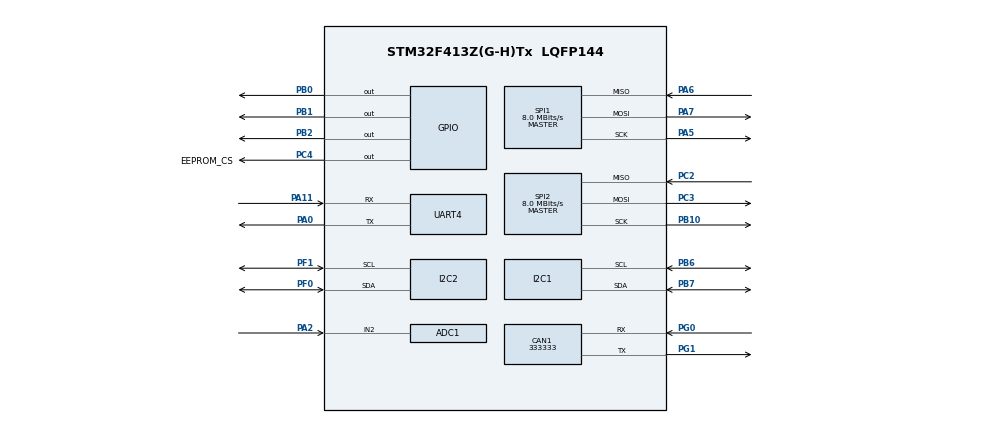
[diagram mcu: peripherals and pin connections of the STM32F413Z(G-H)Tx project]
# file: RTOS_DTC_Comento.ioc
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ADC1.Channel-2\#ChannelRegularConversion=ADC_CHANNEL_2
ADC1.NbrOfConversionFlag=1
ADC1.Rank-2\#ChannelRegularConversion=1
ADC1.SamplingTime-2\#ChannelRegularConversion=ADC_SAMPLETIME_3CYCLES
ADC1.master=1
CAN1.CalculateBaudRate=333333
CAN1.CalculateTimeBit=3000
CAN1.CalculateTimeQuantum=1000.0
Dma.I2C1_RX.0.Direction=DMA_PERIPH_TO_MEMORY
Dma.I2C1_RX.0.FIFOMode=DMA_FIFOMODE_DISABLE
Dma.I2C1_RX.0.Instance=DMA1_Stream0
Dma.I2C1_RX.0.MemDataAlignment=DMA_MDATAALIGN_BYTE
Dma.I2C1_RX.0.MemInc=DMA_MINC_ENABLE
Dma.I2C1_RX.0.Mode=DMA_NORMAL
Dma.I2C1_RX.0.PeriphDataAlignment=DMA_PDATAALIGN_BYTE
Dma.I2C1_RX.0.PeriphInc=DMA_PINC_DISABLE
Dma.I2C1_RX.0.Priority=DMA_PRIORITY_MEDIUM
Dma.I2C1_TX.1.Direction=DMA_MEMORY_TO_PERIPH
Dma.I2C1_TX.1.FIFOMode=DMA_FIFOMODE_DISABLE
Dma.I2C1_TX.1.Instance=DMA1_Stream6
Dma.I2C1_TX.1.MemDataAlignment=DMA_MDATAALIGN_BYTE
Dma.I2C1_TX.1.MemInc=DMA_MINC_ENABLE
Dma.I2C1_TX.1.Mode=DMA_NORMAL
Dma.I2C1_TX.1.PeriphDataAlignment=DMA_PDATAALIGN_BYTE
Dma.I2C1_TX.1.PeriphInc=DMA_PINC_DISABLE
Dma.I2C1_TX.1.Priority=DMA_PRIORITY_MEDIUM
Dma.I2C2_RX.2.Direction=DMA_PERIPH_TO_MEMORY
Dma.I2C2_RX.2.FIFOMode=DMA_FIFOMODE_DISABLE
Dma.I2C2_RX.2.Instance=DMA1_Stream2
Dma.I2C2_RX.2.MemDataAlignment=DMA_MDATAALIGN_BYTE
Dma.I2C2_RX.2.MemInc=DMA_MINC_ENABLE
Dma.I2C2_RX.2.Mode=DMA_NORMAL
Dma.I2C2_RX.2.PeriphDataAlignment=DMA_PDATAALIGN_BYTE
Dma.I2C2_RX.2.PeriphInc=DMA_PINC_DISABLE
Dma.I2C2_RX.2.Priority=DMA_PRIORITY_LOW
Dma.I2C2_TX.3.Direction=DMA_MEMORY_TO_PERIPH
Dma.I2C2_TX.3.FIFOMode=DMA_FIFOMODE_DISABLE
Dma.I2C2_TX.3.Instance=DMA1_Stream7
Dma.I2C2_TX.3.MemDataAlignment=DMA_MDATAALIGN_BYTE
Dma.I2C2_TX.3.MemInc=DMA_MINC_ENABLE
Dma.I2C2_TX.3.Mode=DMA_NORMAL
Dma.I2C2_TX.3.PeriphDataAlignment=DMA_PDATAALIGN_BYTE
Dma.I2C2_TX.3.PeriphInc=DMA_PINC_DISABLE
Dma.I2C2_TX.3.Priority=DMA_PRIORITY_LOW
Dma.Request0=I2C1_RX
Dma.Request1=I2C1_TX
Dma.Request2=I2C2_RX
Dma.Request3=I2C2_TX
Dma.Request4=SPI1_RX
Dma.Request5=SPI1_TX
Dma.Request6=SPI2_RX
Dma.Request7=SPI2_TX
Dma.SPI1_RX.4.Direction=DMA_PERIPH_TO_MEMORY
Dma.SPI1_RX.4.FIFOMode=DMA_FIFOMODE_DISABLE
Dma.SPI1_RX.4.Instance=DMA2_Stream0
Dma.SPI1_RX.4.MemDataAlignment=DMA_MDATAALIGN_BYTE
Dma.SPI1_RX.4.MemInc=DMA_MINC_ENABLE
Dma.SPI1_RX.4.Mode=DMA_NORMAL
Dma.SPI1_RX.4.PeriphDataAlignment=DMA_PDATAALIGN_BYTE
Dma.SPI1_RX.4.PeriphInc=DMA_PINC_DISABLE
Dma.SPI1_RX.4.Priority=DMA_PRIORITY_LOW
Dma.SPI1_TX.5.Direction=DMA_MEMORY_TO_PERIPH
Dma.SPI1_TX.5.FIFOMode=DMA_FIFOMODE_DISABLE
Dma.SPI1_TX.5.Instance=DMA2_Stream3
Dma.SPI1_TX.5.MemDataAlignment=DMA_MDATAALIGN_BYTE
Dma.SPI1_TX.5.MemInc=DMA_MINC_ENABLE
Dma.SPI1_TX.5.Mode=DMA_NORMAL
Dma.SPI1_TX.5.PeriphDataAlignment=DMA_PDATAALIGN_BYTE
Dma.SPI1_TX.5.PeriphInc=DMA_PINC_DISABLE
Dma.SPI1_TX.5.Priority=DMA_PRIORITY_LOW
Dma.SPI2_RX.6.Direction=DMA_PERIPH_TO_MEMORY
Dma.SPI2_RX.6.FIFOMode=DMA_FIFOMODE_DISABLE
Dma.SPI2_RX.6.Instance=DMA1_Stream3
Dma.SPI2_RX.6.MemDataAlignment=DMA_MDATAALIGN_BYTE
Dma.SPI2_RX.6.MemInc=DMA_MINC_ENABLE
Dma.SPI2_RX.6.Mode=DMA_NORMAL
Dma.SPI2_RX.6.PeriphDataAlignment=DMA_PDATAALIGN_BYTE
Dma.SPI2_RX.6.PeriphInc=DMA_PINC_DISABLE
Dma.SPI2_RX.6.Priority=DMA_PRIORITY_LOW
Dma.SPI2_TX.7.Direction=DMA_MEMORY_TO_PERIPH
Dma.SPI2_TX.7.FIFOMode=DMA_FIFOMODE_DISABLE
Dma.SPI2_TX.7.Instance=DMA1_Stream4
Dma.SPI2_TX.7.MemDataAlignment=DMA_MDATAALIGN_BYTE
Dma.SPI2_TX.7.MemInc=DMA_MINC_ENABLE
Dma.SPI2_TX.7.Mode=DMA_NORMAL
Dma.SPI2_TX.7.PeriphDataAlignment=DMA_PDATAALIGN_BYTE
Dma.SPI2_TX.7.PeriphInc=DMA_PINC_DISABLE
Dma.SPI2_TX.7.Priority=DMA_PRIORITY_LOW
FREERTOS.Mutexes01=CommMutexHandle,Dynamic,NULL,Available
FREERTOS.Queues01=CanQueue,8,8,1,Dynamic,NULL,NULL
FREERTOS.Tasks01=defaultTask,24,128,StartDefaultTask,Default,NULL,Dynamic,NULL,NULL;I2CTask,24,128,StartI2CTask,Default,NULL,Dynamic,NULL,NULL;SPITask,24,128,StartSPITask,Default,NULL,Dynamic,NULL,NULL;CANTask,24,128,StartCANTask,Default,NULL,Dynamic,NULL,NULL;UARTTask,24,128,StartUARTTask,Default,NULL,Dynamic,NULL,NULL
Mcu.Family=STM32F4
Mcu.Name=STM32F413Z(G-H)Tx
Mcu.Package=LQFP144
NVIC.CAN1_RX0_IRQn=true\:5\:0\:false\:false\:true\:true\:true\:true\:true
NVIC.CAN1_TX_IRQn=true\:5\:0\:false\:false\:true\:true\:true\:true\:true
NVIC.DMA1_Stream0_IRQn=true\:5\:0\:false\:false\:true\:true\:false\:true\:true
NVIC.DMA1_Stream2_IRQn=true\:5\:0\:false\:false\:true\:true\:false\:true\:true
NVIC.DMA1_Stream3_IRQn=true\:5\:0\:false\:false\:true\:true\:false\:true\:true
NVIC.DMA1_Stream4_IRQn=true\:5\:0\:false\:false\:true\:true\:false\:true\:true
NVIC.DMA1_Stream6_IRQn=true\:5\:0\:false\:false\:true\:false\:false\:true\:true
NVIC.DMA1_Stream7_IRQn=true\:5\:0\:false\:false\:true\:true\:false\:true\:true
NVIC.DMA2_Stream0_IRQn=true\:5\:0\:false\:false\:true\:true\:false\:true\:true
NVIC.DMA2_Stream3_IRQn=true\:5\:0\:false\:false\:true\:false\:false\:true\:true
NVIC.I2C1_ER_IRQn=true\:5\:0\:false\:false\:true\:true\:true\:true\:true
NVIC.I2C1_EV_IRQn=true\:5\:0\:false\:false\:true\:true\:true\:true\:true
NVIC.I2C2_EV_IRQn=true\:5\:0\:false\:false\:true\:true\:true\:true\:true
NVIC.PriorityGroup=NVIC_PRIORITYGROUP_4
NVIC.SPI1_IRQn=true\:5\:0\:false\:false\:true\:true\:true\:true\:true
NVIC.SPI2_IRQn=true\:5\:0\:false\:false\:true\:true\:true\:true\:true
NVIC.UART4_IRQn=true\:5\:0\:false\:false\:true\:true\:true\:true\:true
PA0.Mode=Asynchronous
PA0.Signal=UART4_TX
PA11.Mode=Asynchronous
PA11.Signal=UART4_RX
PA2.Signal=ADCx_IN2
PA5.Mode=Full_Duplex_Master
PA5.Signal=SPI1_SCK
PA6.Mode=Full_Duplex_Master
PA6.Signal=SPI1_MISO
PA7.Mode=Full_Duplex_Master
PA7.Signal=SPI1_MOSI
PB0.GPIO_Speed=GPIO_SPEED_FREQ_MEDIUM
PB0.PinState=GPIO_PIN_SET
PB0.Signal=GPIO_Output
PB1.GPIO_Speed=GPIO_SPEED_FREQ_MEDIUM
PB1.PinState=GPIO_PIN_SET
PB1.Signal=GPIO_Output
PB10.Mode=Full_Duplex_Master
PB10.Signal=SPI2_SCK
PB2.GPIO_ModeDefaultOutputPP=GPIO_MODE_OUTPUT_OD
PB2.GPIO_PuPd=GPIO_NOPULL
PB2.GPIO_Speed=GPIO_SPEED_FREQ_MEDIUM
PB2.PinState=GPIO_PIN_SET
PB2.Signal=GPIO_Output
PB6.Mode=I2C
PB6.Signal=I2C1_SCL
PB7.Mode=I2C
PB7.Signal=I2C1_SDA
PC2.Mode=Full_Duplex_Master
PC2.Signal=SPI2_MISO
PC3.Mode=Full_Duplex_Master
PC3.Signal=SPI2_MOSI
PC4.GPIO_Label=EEPROM_CS
PC4.PinState=GPIO_PIN_SET
PC4.Signal=GPIO_Output
PF0.Mode=I2C
PF0.Signal=I2C2_SDA
PF1.Mode=I2C
PF1.Signal=I2C2_SCL
PG0.Mode=CAN_Activate
PG0.Signal=CAN1_RX
PG1.Mode=CAN_Activate
PG1.Signal=CAN1_TX
ProjectManager.HeapSize=0x200
ProjectManager.StackSize=0x400
ProjectManager.TargetToolchain=STM32CubeIDE
RCC.CortexFreq_Value=16000000
RCC.USBFreq_Value=96000000
RCC.VCOOutputFreq_Value=192000000
SH.ADCx_IN2.0=ADC1_IN2,IN2
SPI1.CalculateBaudRate=8.0 MBits/s
SPI1.Direction=SPI_DIRECTION_2LINES
SPI1.Mode=SPI_MODE_MASTER
SPI1.VirtualType=VM_MASTER
SPI2.CalculateBaudRate=8.0 MBits/s
SPI2.Direction=SPI_DIRECTION_2LINES
SPI2.Mode=SPI_MODE_MASTER
SPI2.VirtualType=VM_MASTER
UART4.VirtualMode=Asynchronous
VP_FREERTOS_VS_CMSIS_V2.Mode=CMSIS_V2
board=custom

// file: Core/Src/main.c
/* USER CODE BEGIN Header */
/**
  ******************************************************************************
  * @file           : main.c
  * @brief          : Main program body
  ******************************************************************************
  * @attention
  *
  * <h2><center>&copy; Copyright (c) 2025 STMicroelectronics.
  * All rights reserved.</center></h2>
  *
  * This software component is licensed by ST under BSD 3-Clause license,
  * the "License"; You may not use this file except in compliance with the
  * License. You may obtain a copy of the License at:
  *                        opensource.org/licenses/BSD-3-Clause
  *
  ******************************************************************************
  */
/* USER CODE END Header */
#include "main.h"
#include "cmsis_os.h"
#include "mp5475gu_driver.h"
#include "dtc_manager.h"
#include "eeprom_25lc256.h"

/* USER CODE BEGIN Includes */
#include "can_manager.h"
#include <string.h>
#include <stdio.h>
/* USER CODE END Includes */

ADC_HandleTypeDef hadc1;

CAN_HandleTypeDef hcan1;

I2C_HandleTypeDef hi2c1;
I2C_HandleTypeDef hi2c2;
DMA_HandleTypeDef hdma_i2c1_rx;
DMA_HandleTypeDef hdma_i2c1_tx;
DMA_HandleTypeDef hdma_i2c2_rx;
DMA_HandleTypeDef hdma_i2c2_tx;

SPI_HandleTypeDef hspi1;
SPI_HandleTypeDef hspi2;
DMA_HandleTypeDef hdma_spi1_rx;
DMA_HandleTypeDef hdma_spi1_tx;
DMA_HandleTypeDef hdma_spi2_rx;
DMA_HandleTypeDef hdma_spi2_tx;

UART_HandleTypeDef huart4;

/* Definitions for defaultTask */
osThreadId_t defaultTaskHandle;
const osThreadAttr_t defaultTask_attributes = {
  .name = "defaultTask",
  .stack_size = 128 * 4,
  .priority = (osPriority_t) osPriorityNormal,
};
/* Definitions for I2CTask */
osThreadId_t I2CTaskHandle;
const osThreadAttr_t I2CTask_attributes = {
  .name = "I2CTask",
  .stack_size = 128 * 4,
  .priority = (osPriority_t) osPriorityNormal,
};
/* Definitions for SPITask */
osThreadId_t SPITaskHandle;
const osThreadAttr_t SPITask_attributes = {
  .name = "SPITask",
  .stack_size = 128 * 4,
  .priority = (osPriority_t) osPriorityNormal,
};
/* Definitions for CANTask */
osThreadId_t CANTaskHandle;
const osThreadAttr_t CANTask_attributes = {
  .name = "CANTask",
  .stack_size = 128 * 4,
  .priority = (osPriority_t) osPriorityNormal,
};
/* Definitions for UARTTask */
osThreadId_t UARTTaskHandle;
const osThreadAttr_t UARTTask_attributes = {
  .name = "UARTTask",
  .stack_size = 128 * 4,
  .priority = (osPriority_t) osPriorityNormal,
};
/* Definitions for CanQueue */
osMessageQueueId_t CanQueueHandle;
const osMessageQueueAttr_t CanQueue_attributes = {
  .name = "CanQueue"
};
/* Definitions for CommMutexHandle */
osMutexId_t CommMutexHandleHandle;
const osMutexAttr_t CommMutexHandle_attributes = {
  .name = "CommMutexHandle"
};

void SystemClock_Config(void);
static void MX_GPIO_Init(void);
static void MX_DMA_Init(void);
static void MX_ADC1_Init(void);
static void MX_CAN1_Init(void);
static void MX_I2C1_Init(void);
static void MX_I2C2_Init(void);
static void MX_SPI1_Init(void);
static void MX_SPI2_Init(void);
static void MX_UART4_Init(void);
void StartDefaultTask(void *argument);
void StartI2CTask(void *argument);
void StartSPITask(void *argument);
void StartCANTask(void *argument);
void StartUARTTask(void *argument);

int main(void)
{

  /* MCU Configuration--------------------------------------------------------*/

  /* Reset of all peripherals, Initializes the Flash interface and the Systick. */
  HAL_Init();

  /* Configure the system clock */
  SystemClock_Config();

  /* Initialize all configured peripherals */
  MX_GPIO_Init();
  MX_DMA_Init();
  MX_ADC1_Init();
  MX_CAN1_Init();
  MX_I2C1_Init();
  MX_I2C2_Init();
  MX_SPI1_Init();
  MX_SPI2_Init();
  MX_UART4_Init();
  /* USER CODE BEGIN 2 */
  mp5475gu_init();
  EEPROM_Init(&hspi1, GPIOC, GPIO_PIN_4);
  CAN_Manager_Init(&hcan1);
  /* USER CODE END 2 */

  /* Init scheduler */
  osKernelInitialize();
  /* Create the mutex(es) */
  /* creation of CommMutexHandle */
  CommMutexHandleHandle = osMutexNew(&CommMutexHandle_attributes);

  /* Create the queue(s) */
  /* creation of CanQueue */
  CanQueueHandle = osMessageQueueNew (8, 8, &CanQueue_attributes);

  /* Create the thread(s) */
  /* creation of defaultTask */
  defaultTaskHandle = osThreadNew(StartDefaultTask, NULL, &defaultTask_attributes);

  /* creation of I2CTask */
  I2CTaskHandle = osThreadNew(StartI2CTask, NULL, &I2CTask_attributes);

  /* creation of SPITask */
  SPITaskHandle = osThreadNew(StartSPITask, NULL, &SPITask_attributes);

  /* creation of CANTask */
  CANTaskHandle = osThreadNew(StartCANTask, NULL, &CANTask_attributes);

  /* creation of UARTTask */
  UARTTaskHandle = osThreadNew(StartUARTTask, NULL, &UARTTask_attributes);

  /* Start scheduler */
  osKernelStart();

  /* We should never get here as control is now taken by the scheduler */
  /* Infinite loop */
  while (1)
  {

  }
}

void SystemClock_Config(void)
{
  RCC_OscInitTypeDef RCC_OscInitStruct = {0};
  RCC_ClkInitTypeDef RCC_ClkInitStruct = {0};

  /** Configure the main internal regulator output voltage
  */
  __HAL_RCC_PWR_CLK_ENABLE();
  __HAL_PWR_VOLTAGESCALING_CONFIG(PWR_REGULATOR_VOLTAGE_SCALE1);
  /** Initializes the RCC Oscillators according to the specified parameters
  * in the RCC_OscInitTypeDef structure.
  */
  RCC_OscInitStruct.OscillatorType = RCC_OSCILLATORTYPE_HSI;
  RCC_OscInitStruct.HSIState = RCC_HSI_ON;
  RCC_OscInitStruct.HSICalibrationValue = RCC_HSICALIBRATION_DEFAULT;
  RCC_OscInitStruct.PLL.PLLState = RCC_PLL_NONE;
  if (HAL_RCC_OscConfig(&RCC_OscInitStruct) != HAL_OK)
  {
    Error_Handler();
  }
  /** Initializes the CPU, AHB and APB buses clocks
  */
  RCC_ClkInitStruct.ClockType = RCC_CLOCKTYPE_HCLK|RCC_CLOCKTYPE_SYSCLK
                              |RCC_CLOCKTYPE_PCLK1|RCC_CLOCKTYPE_PCLK2;
  RCC_ClkInitStruct.SYSCLKSource = RCC_SYSCLKSOURCE_HSI;
  RCC_ClkInitStruct.AHBCLKDivider = RCC_SYSCLK_DIV1;
  RCC_ClkInitStruct.APB1CLKDivider = RCC_HCLK_DIV1;
  RCC_ClkInitStruct.APB2CLKDivider = RCC_HCLK_DIV1;

  if (HAL_RCC_ClockConfig(&RCC_ClkInitStruct, FLASH_LATENCY_0) != HAL_OK)
  {
    Error_Handler();
  }
}

static void MX_ADC1_Init(void)
{

  ADC_ChannelConfTypeDef sConfig = {0};

  /** Configure the global features of the ADC (Clock, Resolution, Data Alignment and number of conversion)
  */
  hadc1.Instance = ADC1;
  hadc1.Init.ClockPrescaler = ADC_CLOCK_SYNC_PCLK_DIV2;
  hadc1.Init.Resolution = ADC_RESOLUTION_12B;
  hadc1.Init.ScanConvMode = DISABLE;
  hadc1.Init.ContinuousConvMode = DISABLE;
  hadc1.Init.DiscontinuousConvMode = DISABLE;
  hadc1.Init.ExternalTrigConvEdge = ADC_EXTERNALTRIGCONVEDGE_NONE;
  hadc1.Init.ExternalTrigConv = ADC_SOFTWARE_START;
  hadc1.Init.DataAlign = ADC_DATAALIGN_RIGHT;
  hadc1.Init.NbrOfConversion = 1;
  hadc1.Init.DMAContinuousRequests = DISABLE;
  hadc1.Init.EOCSelection = ADC_EOC_SINGLE_CONV;
  if (HAL_ADC_Init(&hadc1) != HAL_OK)
  {
    Error_Handler();
  }
  /** Configure for the selected ADC regular channel its corresponding rank in the sequencer and its sample time.
  */
  sConfig.Channel = ADC_CHANNEL_2;
  sConfig.Rank = 1;
  sConfig.SamplingTime = ADC_SAMPLETIME_3CYCLES;
  if (HAL_ADC_ConfigChannel(&hadc1, &sConfig) != HAL_OK)
  {
    Error_Handler();
  }

}

static void MX_CAN1_Init(void)
{

  hcan1.Instance = CAN1;
  hcan1.Init.Prescaler = 16;
  hcan1.Init.Mode = CAN_MODE_NORMAL;
  hcan1.Init.SyncJumpWidth = CAN_SJW_1TQ;
  hcan1.Init.TimeSeg1 = CAN_BS1_1TQ;
  hcan1.Init.TimeSeg2 = CAN_BS2_1TQ;
  hcan1.Init.TimeTriggeredMode = DISABLE;
  hcan1.Init.AutoBusOff = DISABLE;
  hcan1.Init.AutoWakeUp = DISABLE;
  hcan1.Init.AutoRetransmission = DISABLE;
  hcan1.Init.ReceiveFifoLocked = DISABLE;
  hcan1.Init.TransmitFifoPriority = DISABLE;
  if (HAL_CAN_Init(&hcan1) != HAL_OK)
  {
    Error_Handler();
  }

}

static void MX_I2C1_Init(void)
{

  hi2c1.Instance = I2C1;
  hi2c1.Init.ClockSpeed = 100000;
  hi2c1.Init.DutyCycle = I2C_DUTYCYCLE_2;
  hi2c1.Init.OwnAddress1 = 0;
  hi2c1.Init.AddressingMode = I2C_ADDRESSINGMODE_7BIT;
  hi2c1.Init.DualAddressMode = I2C_DUALADDRESS_DISABLE;
  hi2c1.Init.OwnAddress2 = 0;
  hi2c1.Init.GeneralCallMode = I2C_GENERALCALL_DISABLE;
  hi2c1.Init.NoStretchMode = I2C_NOSTRETCH_DISABLE;
  if (HAL_I2C_Init(&hi2c1) != HAL_OK)
  {
    Error_Handler();
  }

}

static void MX_I2C2_Init(void)
{

  hi2c2.Instance = I2C2;
  hi2c2.Init.ClockSpeed = 100000;
  hi2c2.Init.DutyCycle = I2C_DUTYCYCLE_2;
  hi2c2.Init.OwnAddress1 = 0;
  hi2c2.Init.AddressingMode = I2C_ADDRESSINGMODE_7BIT;
  hi2c2.Init.DualAddressMode = I2C_DUALADDRESS_DISABLE;
  hi2c2.Init.OwnAddress2 = 0;
  hi2c2.Init.GeneralCallMode = I2C_GENERALCALL_DISABLE;
  hi2c2.Init.NoStretchMode = I2C_NOSTRETCH_DISABLE;
  if (HAL_I2C_Init(&hi2c2) != HAL_OK)
  {
    Error_Handler();
  }

}

static void MX_SPI1_Init(void)
{

  /* SPI1 parameter configuration*/
  hspi1.Instance = SPI1;
  hspi1.Init.Mode = SPI_MODE_MASTER;
  hspi1.Init.Direction = SPI_DIRECTION_2LINES;
  hspi1.Init.DataSize = SPI_DATASIZE_8BIT;
  hspi1.Init.CLKPolarity = SPI_POLARITY_LOW;
  hspi1.Init.CLKPhase = SPI_PHASE_1EDGE;
  hspi1.Init.NSS = SPI_NSS_SOFT;
  hspi1.Init.BaudRatePrescaler = SPI_BAUDRATEPRESCALER_2;
  hspi1.Init.FirstBit = SPI_FIRSTBIT_MSB;
  hspi1.Init.TIMode = SPI_TIMODE_DISABLE;
  hspi1.Init.CRCCalculation = SPI_CRCCALCULATION_DISABLE;
  hspi1.Init.CRCPolynomial = 10;
  if (HAL_SPI_Init(&hspi1) != HAL_OK)
  {
    Error_Handler();
  }

}

static void MX_SPI2_Init(void)
{

  /* SPI2 parameter configuration*/
  hspi2.Instance = SPI2;
  hspi2.Init.Mode = SPI_MODE_MASTER;
  hspi2.Init.Direction = SPI_DIRECTION_2LINES;
  hspi2.Init.DataSize = SPI_DATASIZE_8BIT;
  hspi2.Init.CLKPolarity = SPI_POLARITY_LOW;
  hspi2.Init.CLKPhase = SPI_PHASE_1EDGE;
  hspi2.Init.NSS = SPI_NSS_SOFT;
  hspi2.Init.BaudRatePrescaler = SPI_BAUDRATEPRESCALER_2;
  hspi2.Init.FirstBit = SPI_FIRSTBIT_MSB;
  hspi2.Init.TIMode = SPI_TIMODE_DISABLE;
  hspi2.Init.CRCCalculation = SPI_CRCCALCULATION_DISABLE;
  hspi2.Init.CRCPolynomial = 10;
  if (HAL_SPI_Init(&hspi2) != HAL_OK)
  {
    Error_Handler();
  }

}

static void MX_UART4_Init(void)
{

  huart4.Instance = UART4;
  huart4.Init.BaudRate = 115200;
  huart4.Init.WordLength = UART_WORDLENGTH_8B;
  huart4.Init.StopBits = UART_STOPBITS_1;
  huart4.Init.Parity = UART_PARITY_NONE;
  huart4.Init.Mode = UART_MODE_TX_RX;
  huart4.Init.HwFlowCtl = UART_HWCONTROL_NONE;
  huart4.Init.OverSampling = UART_OVERSAMPLING_16;
  if (HAL_UART_Init(&huart4) != HAL_OK)
  {
    Error_Handler();
  }

}

static void MX_DMA_Init(void)
{

  /* DMA controller clock enable */
  __HAL_RCC_DMA1_CLK_ENABLE();
  __HAL_RCC_DMA2_CLK_ENABLE();

  /* DMA interrupt init */
  /* DMA1_Stream0_IRQn interrupt configuration */
  HAL_NVIC_SetPriority(DMA1_Stream0_IRQn, 5, 0);
  HAL_NVIC_EnableIRQ(DMA1_Stream0_IRQn);
  /* DMA1_Stream2_IRQn interrupt configuration */
  HAL_NVIC_SetPriority(DMA1_Stream2_IRQn, 5, 0);
  HAL_NVIC_EnableIRQ(DMA1_Stream2_IRQn);
  /* DMA1_Stream3_IRQn interrupt configuration */
  HAL_NVIC_SetPriority(DMA1_Stream3_IRQn, 5, 0);
  HAL_NVIC_EnableIRQ(DMA1_Stream3_IRQn);
  /* DMA1_Stream4_IRQn interrupt configuration */
  HAL_NVIC_SetPriority(DMA1_Stream4_IRQn, 5, 0);
  HAL_NVIC_EnableIRQ(DMA1_Stream4_IRQn);
  /* DMA1_Stream6_IRQn interrupt configuration */
  HAL_NVIC_SetPriority(DMA1_Stream6_IRQn, 0, 0);
  HAL_NVIC_EnableIRQ(DMA1_Stream6_IRQn);
  /* DMA1_Stream7_IRQn interrupt configuration */
  HAL_NVIC_SetPriority(DMA1_Stream7_IRQn, 5, 0);
  HAL_NVIC_EnableIRQ(DMA1_Stream7_IRQn);
  /* DMA2_Stream0_IRQn interrupt configuration */
  HAL_NVIC_SetPriority(DMA2_Stream0_IRQn, 5, 0);
  HAL_NVIC_EnableIRQ(DMA2_Stream0_IRQn);
  /* DMA2_Stream3_IRQn interrupt configuration */
  HAL_NVIC_SetPriority(DMA2_Stream3_IRQn, 0, 0);
  HAL_NVIC_EnableIRQ(DMA2_Stream3_IRQn);

}

static void MX_GPIO_Init(void)
{
  GPIO_InitTypeDef GPIO_InitStruct = {0};

  /* GPIO Ports Clock Enable */
  __HAL_RCC_GPIOF_CLK_ENABLE();
  __HAL_RCC_GPIOC_CLK_ENABLE();
  __HAL_RCC_GPIOA_CLK_ENABLE();
  __HAL_RCC_GPIOB_CLK_ENABLE();
  __HAL_RCC_GPIOG_CLK_ENABLE();

  /*Configure GPIO pin Output Level */
  HAL_GPIO_WritePin(GPIOB, GPIO_PIN_0|GPIO_PIN_1|GPIO_PIN_2, GPIO_PIN_SET);

  /*Configure GPIO pins : PB0 PB1 */
  GPIO_InitStruct.Pin = GPIO_PIN_0|GPIO_PIN_1;
  GPIO_InitStruct.Mode = GPIO_MODE_OUTPUT_PP;
  GPIO_InitStruct.Pull = GPIO_NOPULL;
  GPIO_InitStruct.Speed = GPIO_SPEED_FREQ_MEDIUM;
  HAL_GPIO_Init(GPIOB, &GPIO_InitStruct);

  /*Configure GPIO pin : PB2 */
  GPIO_InitStruct.Pin = GPIO_PIN_2;
  GPIO_InitStruct.Mode = GPIO_MODE_OUTPUT_OD;
  GPIO_InitStruct.Pull = GPIO_NOPULL;
  GPIO_InitStruct.Speed = GPIO_SPEED_FREQ_MEDIUM;
  HAL_GPIO_Init(GPIOB, &GPIO_InitStruct);

}

void StartDefaultTask(void *argument)
{
  for(;;)
  {
    osDelay(1);
  }
}

void StartI2CTask(void *argument)
{
  /* USER CODE BEGIN StartI2CTask */
  MP5475GU_StatusUV_t uv_status;
  HAL_StatusTypeDef ret;
  /* Infinite loop */
  for(;;)
  {
    if (osMutexAcquire(CommMutexHandleHandle, osWaitForever) == osOK){

      // TODO: Add I2C communication code here.
      mp5475gu_set_vout(&hi2c1, BUCK_A, 1.2f);
      osDelay(100);

      // 1. Read the UV status from the PMIC
      ret = mp5475gu_read_uv_status(&hi2c1, &uv_status);
      if (ret == HAL_OK) {
        // 2. Update DTCs based on the read status

        // Check Buck A
        if (uv_status.bits.BUCKA_UV) {
          DTC_Set(DTC_PMIC_BUCK_A_UNDERVOLTAGE);
        } else {
          DTC_Clear(DTC_PMIC_BUCK_A_UNDERVOLTAGE);
        }

        // Check Buck B
        if (uv_status.bits.BUCKB_UV) {
          DTC_Set(DTC_PMIC_BUCK_B_UNDERVOLTAGE);
        } else {
          DTC_Clear(DTC_PMIC_BUCK_B_UNDERVOLTAGE);
        }

        // Check Buck C
        if (uv_status.bits.BUCKC_UV) {
          DTC_Set(DTC_PMIC_BUCK_C_UNDERVOLTAGE);
        } else {
          DTC_Clear(DTC_PMIC_BUCK_C_UNDERVOLTAGE);
        }

        // Check Buck D
        if (uv_status.bits.BUCKD_UV) {
          DTC_Set(DTC_PMIC_BUCK_D_UNDERVOLTAGE);
        } else {
          DTC_Clear(DTC_PMIC_BUCK_D_UNDERVOLTAGE);
        }
      }

      osMutexRelease(CommMutexHandleHandle);

      // Wait for the next monitoring cycle
      osDelay(100); // Check every 100ms
    }
  }
  /* USER CODE END StartI2CTask */
}

void StartSPITask(void *argument)
{
  /* USER CODE BEGIN StartSPITask */
  uint8_t dtc_data;
  uint16_t dtc_address;
  /* Infinite loop */
  for(;;)
  {
    if (osMutexAcquire(CommMutexHandleHandle, osWaitForever) == osOK){

      // TODO: Add SPI communication code here.
      dtc_data = DTC_GetStatusBitmask();
      dtc_address = 0x0000;
      if (EEPROM_Write_DMA(dtc_address, &dtc_data, 1) == HAL_OK) {
        // 쓰기 성공
      } else {
        // 쓰기 실패
      }

      osMutexRelease(CommMutexHandleHandle);
    }
    osDelay(100);
  }
  /* USER CODE END StartSPITask */
}

void StartCANTask(void *argument)
{
  /* USER CODE BEGIN StartCANTask */
  uint8_t dtc_data;
  uint16_t dtc_address = 0x0000;
  /* Infinite loop */
  for(;;)
  {
    if (osMutexAcquire(CommMutexHandleHandle, osWaitForever) == osOK){

      if (EEPROM_Read_DMA(dtc_address, &dtc_data, 1) == HAL_OK) {
        CAN_Manager_Transmit_DTC(&hcan1, &dtc_data, 1);
      }

      osMutexRelease(CommMutexHandleHandle);
    }
    osDelay(1000); // Transmit every 1 second
  }
  /* USER CODE END StartCANTA_Task */
}

void StartUARTTask(void *argument)
{
  /* USER CODE BEGIN StartUARTTask */
  CAN_Command_t cmd;
  uint8_t dtc_value;
  uint16_t dtc_address = 0x0000;
  char uart_msg[50];

  /* Infinite loop */
  for(;;)
  {
    cmd = CAN_Manager_Get_Command();

    if (cmd != CMD_NONE) {
      if (osMutexAcquire(CommMutexHandleHandle, osWaitForever) == osOK) {
        switch (cmd) {
          case CMD_CLEAR_DTC:
            dtc_value = 0x00; // Clear DTCs
            EEPROM_Write_DMA(dtc_address, &dtc_value, 1);
            DTC_ClearAll(); // Also clear in-memory representation
            snprintf(uart_msg, sizeof(uart_msg), "DTCs Cleared.\r\n");
            HAL_UART_Transmit(&huart4, (uint8_t*)uart_msg, strlen(uart_msg), 100);
            break;

          case CMD_READ_DTC:
            EEPROM_Read_DMA(dtc_address, &dtc_value, 1);
            snprintf(uart_msg, sizeof(uart_msg), "DTC Value: 0x%02X\r\n", dtc_value);
            HAL_UART_Transmit(&huart4, (uint8_t*)uart_msg, strlen(uart_msg), 100);
            break;

          default:
            break;
        }
        CAN_Manager_Clear_Command(); // Reset command after processing
        osMutexRelease(CommMutexHandleHandle);
      }
    }

    osDelay(200); // Poll for commands every 200ms
  }
  /* USER CODE END StartUARTTask */
}

void Error_Handler(void)
{
  __disable_irq();
  while (1)
  {
  }
}

/************************ (C) COPYRIGHT STMicroelectronics *****END OF FILE****/
